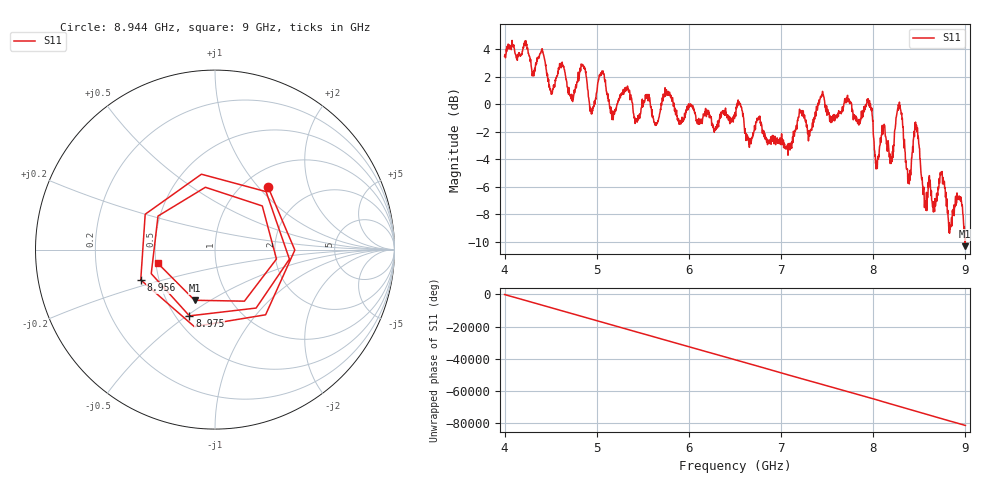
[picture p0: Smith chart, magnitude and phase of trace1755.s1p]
! Created with skrf 1.8.0 (http://scikit-rf.org).
# Hz S RI R 50.0
!freq ReS11 ImS11
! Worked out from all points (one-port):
!   1601 points, 4 GHz to 9 GHz, reference 50 ohm
!   lowest |S11| = -10.3 dB at 8.997 GHz (marker M1), VSWR 1.87, Z = 34.4 - j21.4 ohm
!   |S11| at or under -10 dB: 8.995614 GHz to 8.99862 GHz (3.006 MHz wide, 0.0334 % of centre)
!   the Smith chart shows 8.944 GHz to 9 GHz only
!   S11 on the Smith chart (normalised r, x): 8.944 GHz: 1.27, +1.13; 8.956 GHz: 0.39, -0.17; 8.975 GHz: 0.59, -0.51; 9 GHz: 0.51, -0.09
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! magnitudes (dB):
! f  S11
! 4 GHz  3.5
! 4.406 GHz  3.9
! 4.506 GHz  0.7
! 4.625 GHz  3.1
! 4.728 GHz  0.7
! 4.856 GHz  2.8
! 4.944 GHz  -0.6
! 5.053 GHz  2.2
! 5.166 GHz  -1.1
! 5.25 GHz  0.6
! 5.875 GHz  -1.1
! 6.5 GHz  -0.6
! 7.125 GHz  -2.4
! 7.438 GHz  0.6
! 7.75 GHz  0.2
! 7.959 GHz  0.3
! 8.038 GHz  -4.6
! 8.112 GHz  -1.6
! 8.2 GHz  -4.0
! 8.288 GHz  -0.3
! 8.375 GHz  -5.7
! 8.466 GHz  -1.8
! 8.566 GHz  -7.1
! 8.944 GHz  -6.8
! 8.956 GHz  -7.0
! 8.975 GHz  -8.1
! 8.997 GHz  -10.3
! 9 GHz  -9.7
